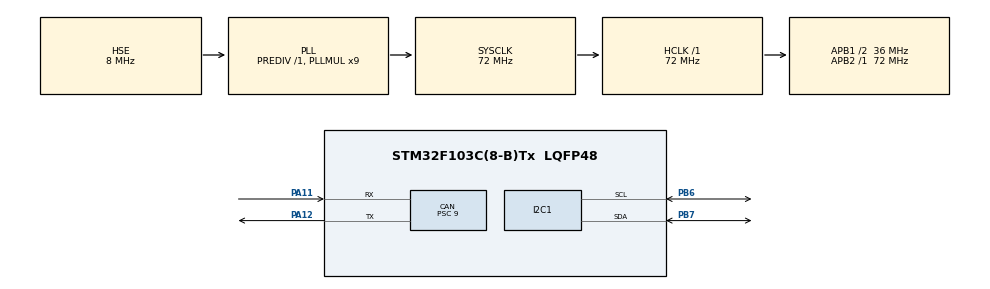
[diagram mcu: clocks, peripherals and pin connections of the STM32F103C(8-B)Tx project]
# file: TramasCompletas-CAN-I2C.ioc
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CAN.BS1=CAN_BS1_4TQ
CAN.BS2=CAN_BS2_3TQ
CAN.CalculateBaudRate=500000
CAN.CalculateTimeBit=2000
CAN.CalculateTimeQuantum=250.0
CAN.Prescaler=9
Mcu.Family=STM32F1
Mcu.Name=STM32F103C(8-B)Tx
Mcu.Package=LQFP48
NVIC.I2C1_EV_IRQn=true\:0\:0\:false\:false\:true\:true\:true\:true
NVIC.PriorityGroup=NVIC_PRIORITYGROUP_4
NVIC.USB_LP_CAN1_RX0_IRQn=true\:0\:0\:false\:false\:true\:true\:true\:true
PA11.Mode=CAN_Activate
PA11.Signal=CAN_RX
PA12.Mode=CAN_Activate
PA12.Signal=CAN_TX
PA13.Mode=Serial_Wire
PA13.Signal=SYS_JTMS-SWDIO
PA14.Mode=Serial_Wire
PA14.Signal=SYS_JTCK-SWCLK
PB6.Mode=I2C
PB6.Signal=I2C1_SCL
PB7.Mode=I2C
PB7.Signal=I2C1_SDA
PD0-OSC_IN.Mode=HSE-External-Oscillator
PD0-OSC_IN.Signal=RCC_OSC_IN
PD1-OSC_OUT.Mode=HSE-External-Oscillator
PD1-OSC_OUT.Signal=RCC_OSC_OUT
ProjectManager.HeapSize=0x200
ProjectManager.StackSize=0x400
ProjectManager.TargetToolchain=STM32CubeIDE
RCC.AHBFreq_Value=72000000
RCC.APB1CLKDivider=RCC_HCLK_DIV2
RCC.APB1Freq_Value=36000000
RCC.APB1TimFreq_Value=72000000
RCC.APB2Freq_Value=72000000
RCC.APB2TimFreq_Value=72000000
RCC.HCLKFreq_Value=72000000
RCC.PLLMUL=RCC_PLL_MUL9
RCC.PLLSourceVirtual=RCC_PLLSOURCE_HSE
RCC.SYSCLKFreq_VALUE=72000000
RCC.SYSCLKSource=RCC_SYSCLKSOURCE_PLLCLK
RCC.USBFreq_Value=72000000
board=custom

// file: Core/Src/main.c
/* USER CODE BEGIN Header */
/**
  ******************************************************************************
  * @file           : main.c
  * @brief          : Main program body
  ******************************************************************************
  * @attention
  *
  * Copyright (c) 2022 STMicroelectronics.
  * All rights reserved.
  *
  * This software is licensed under terms that can be found in the LICENSE file
  * in the root directory of this software component.
  * If no LICENSE file comes with this software, it is provided AS-IS.
  *
  ******************************************************************************
  */
/* USER CODE END Header */
#include "main.h"

CAN_HandleTypeDef hcan;

I2C_HandleTypeDef hi2c1;

/* USER CODE BEGIN PV */
CAN_TxHeaderTypeDef TxHeader;
CAN_RxHeaderTypeDef RxHeader;
CAN_FilterTypeDef sFilterConfig;

uint8_t flag=0;
uint8_t Data[8];
uint8_t r[8];
uint8_t result[8];
uint32_t TxMailbox;
uint8_t TxData[8];
/* USER CODE END PV */

void SystemClock_Config(void);
static void MX_GPIO_Init(void);
static void MX_CAN_Init(void);
static void MX_I2C1_Init(void);

int main(void)
{
  /* USER CODE BEGIN 1 */
  TxHeader.StdId=0xc3;
  TxHeader.DLC=8;
  TxData[0]=0;
  TxData[1]=0;
  TxData[2]=0;
  TxData[3]=0;
  TxData[4]=0;
  TxData[5]=0;
  TxData[6]=0;
  TxData[7]=0;
  TxHeader.ExtId=0;
  TxHeader.IDE=CAN_ID_STD;
  TxHeader.RTR=CAN_RTR_DATA;
  TxHeader.TransmitGlobalTime=DISABLE;
  /* USER CODE END 1 */

  /* MCU Configuration--------------------------------------------------------*/

  /* Reset of all peripherals, Initializes the Flash interface and the Systick. */
  HAL_Init();

  /* Configure the system clock */
  SystemClock_Config();

  /* Initialize all configured peripherals */
  MX_GPIO_Init();
  MX_CAN_Init();
  MX_I2C1_Init();
  /* USER CODE BEGIN 2 */
  sFilterConfig.FilterFIFOAssignment=CAN_FILTER_FIFO0;
  sFilterConfig.FilterBank=0;
  sFilterConfig.FilterIdHigh=0xc1<<5;
  sFilterConfig.FilterIdLow=0;
  sFilterConfig.FilterScale=CAN_FILTERSCALE_32BIT;
  sFilterConfig.FilterMode = CAN_FILTERMODE_IDLIST;
  sFilterConfig.FilterActivation=CAN_FILTER_ENABLE;

  HAL_CAN_ConfigFilter(&hcan, &sFilterConfig);
  HAL_CAN_Start(&hcan);
  HAL_CAN_ActivateNotification(&hcan, CAN_IT_RX_FIFO0_MSG_PENDING);
  /* USER CODE END 2 */

  /* Infinite loop */
  /* USER CODE BEGIN WHILE */
  while (1)
  {
	  if(flag==1)
	  	  {
	  		  HAL_I2C_Mem_Write(&hi2c1, 0xA1, 0x02, 1, &Data[0], sizeof(Data[0]), HAL_MAX_DELAY);
	  		  HAL_I2C_Mem_Write(&hi2c1, 0xA1, 0x03, 1, &Data[1], sizeof(Data[1]), HAL_MAX_DELAY);
	  		  HAL_I2C_Mem_Write(&hi2c1, 0xA1, 0x04, 1, &Data[2], sizeof(Data[2]), HAL_MAX_DELAY);
	  		  HAL_I2C_Mem_Write(&hi2c1, 0xA1, 0x05, 1, &Data[3], sizeof(Data[3]), HAL_MAX_DELAY);
	  		  HAL_I2C_Mem_Write(&hi2c1, 0xA1, 0x06, 1, &Data[4], sizeof(Data[4]), HAL_MAX_DELAY);
	  		  HAL_I2C_Mem_Write(&hi2c1, 0xA1, 0x07, 1, &Data[5], sizeof(Data[5]), HAL_MAX_DELAY);
	  		  HAL_I2C_Mem_Write(&hi2c1, 0xA1, 0x08, 1, &Data[6], sizeof(Data[6]), HAL_MAX_DELAY);
	  		  HAL_I2C_Mem_Write(&hi2c1, 0xA1, 0x09, 1, &Data[7], sizeof(Data[7]), HAL_MAX_DELAY);
	  		  HAL_Delay(100);
	  		  HAL_I2C_Mem_Read(&hi2c1, 0xA1, 0x02, 1, &result[0], sizeof(result[0]), HAL_MAX_DELAY);
	  		  HAL_I2C_Mem_Read(&hi2c1, 0xA1, 0x03, 1, &result[1], sizeof(result[1]), HAL_MAX_DELAY);
	  		  HAL_I2C_Mem_Read(&hi2c1, 0xA1, 0x04, 1, &result[2], sizeof(result[2]), HAL_MAX_DELAY);
	  		  HAL_I2C_Mem_Read(&hi2c1, 0xA1, 0x05, 1, &result[3], sizeof(result[3]), HAL_MAX_DELAY);
	  		  HAL_I2C_Mem_Read(&hi2c1, 0xA1, 0x06, 1, &result[4], sizeof(result[4]), HAL_MAX_DELAY);
	  		  HAL_I2C_Mem_Read(&hi2c1, 0xA1, 0x07, 1, &result[5], sizeof(result[5]), HAL_MAX_DELAY);
	  		  HAL_I2C_Mem_Read(&hi2c1, 0xA1, 0x08, 1, &result[6], sizeof(result[6]), HAL_MAX_DELAY);
	  		  HAL_I2C_Mem_Read(&hi2c1, 0xA1, 0x09, 1, &result[7], sizeof(result[7]), HAL_MAX_DELAY);
	  		  TxData[0]=result[0];
	  		  TxData[1]=result[1];
	  		  TxData[2]=result[2];
	  		  TxData[3]=result[3];
	  		  TxData[4]=result[4];
	  		  TxData[5]=result[5];
	  		  TxData[6]=result[6];
	  		  TxData[7]=result[7];
	  		  HAL_CAN_AddTxMessage(&hcan, &TxHeader, TxData, &TxMailbox);
	  		  flag=0;
	  	  }

    /* USER CODE END WHILE */

  }
}

void SystemClock_Config(void)
{
  RCC_OscInitTypeDef RCC_OscInitStruct = {0};
  RCC_ClkInitTypeDef RCC_ClkInitStruct = {0};

  /** Initializes the RCC Oscillators according to the specified parameters
  * in the RCC_OscInitTypeDef structure.
  */
  RCC_OscInitStruct.OscillatorType = RCC_OSCILLATORTYPE_HSE;
  RCC_OscInitStruct.HSEState = RCC_HSE_ON;
  RCC_OscInitStruct.HSEPredivValue = RCC_HSE_PREDIV_DIV1;
  RCC_OscInitStruct.HSIState = RCC_HSI_ON;
  RCC_OscInitStruct.PLL.PLLState = RCC_PLL_ON;
  RCC_OscInitStruct.PLL.PLLSource = RCC_PLLSOURCE_HSE;
  RCC_OscInitStruct.PLL.PLLMUL = RCC_PLL_MUL9;
  if (HAL_RCC_OscConfig(&RCC_OscInitStruct) != HAL_OK)
  {
    Error_Handler();
  }

  /** Initializes the CPU, AHB and APB buses clocks
  */
  RCC_ClkInitStruct.ClockType = RCC_CLOCKTYPE_HCLK|RCC_CLOCKTYPE_SYSCLK
                              |RCC_CLOCKTYPE_PCLK1|RCC_CLOCKTYPE_PCLK2;
  RCC_ClkInitStruct.SYSCLKSource = RCC_SYSCLKSOURCE_PLLCLK;
  RCC_ClkInitStruct.AHBCLKDivider = RCC_SYSCLK_DIV1;
  RCC_ClkInitStruct.APB1CLKDivider = RCC_HCLK_DIV2;
  RCC_ClkInitStruct.APB2CLKDivider = RCC_HCLK_DIV1;

  if (HAL_RCC_ClockConfig(&RCC_ClkInitStruct, FLASH_LATENCY_2) != HAL_OK)
  {
    Error_Handler();
  }
}

static void MX_CAN_Init(void)
{

  hcan.Instance = CAN1;
  hcan.Init.Prescaler = 9;
  hcan.Init.Mode = CAN_MODE_NORMAL;
  hcan.Init.SyncJumpWidth = CAN_SJW_1TQ;
  hcan.Init.TimeSeg1 = CAN_BS1_4TQ;
  hcan.Init.TimeSeg2 = CAN_BS2_3TQ;
  hcan.Init.TimeTriggeredMode = DISABLE;
  hcan.Init.AutoBusOff = DISABLE;
  hcan.Init.AutoWakeUp = DISABLE;
  hcan.Init.AutoRetransmission = DISABLE;
  hcan.Init.ReceiveFifoLocked = DISABLE;
  hcan.Init.TransmitFifoPriority = DISABLE;
  if (HAL_CAN_Init(&hcan) != HAL_OK)
  {
    Error_Handler();
  }

}

static void MX_I2C1_Init(void)
{

  hi2c1.Instance = I2C1;
  hi2c1.Init.ClockSpeed = 100000;
  hi2c1.Init.DutyCycle = I2C_DUTYCYCLE_2;
  hi2c1.Init.OwnAddress1 = 0;
  hi2c1.Init.AddressingMode = I2C_ADDRESSINGMODE_7BIT;
  hi2c1.Init.DualAddressMode = I2C_DUALADDRESS_DISABLE;
  hi2c1.Init.OwnAddress2 = 0;
  hi2c1.Init.GeneralCallMode = I2C_GENERALCALL_DISABLE;
  hi2c1.Init.NoStretchMode = I2C_NOSTRETCH_DISABLE;
  if (HAL_I2C_Init(&hi2c1) != HAL_OK)
  {
    Error_Handler();
  }

}

static void MX_GPIO_Init(void)
{

  /* GPIO Ports Clock Enable */
  __HAL_RCC_GPIOD_CLK_ENABLE();
  __HAL_RCC_GPIOA_CLK_ENABLE();
  __HAL_RCC_GPIOB_CLK_ENABLE();

}

void Error_Handler(void)
{
  __disable_irq();
  while (1)
  {
  }
}
